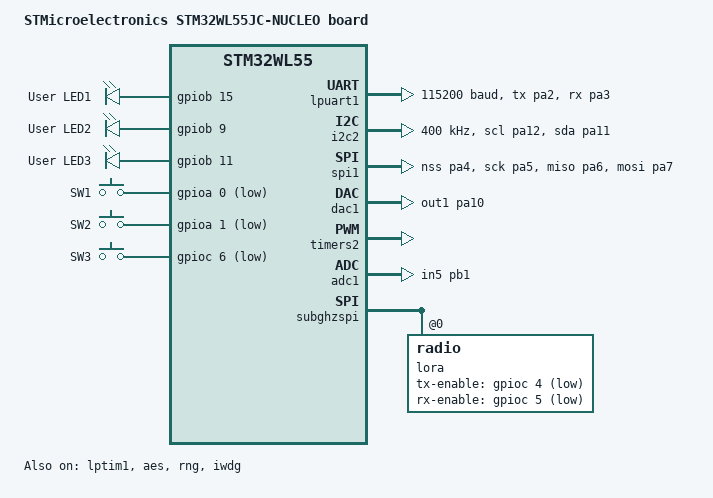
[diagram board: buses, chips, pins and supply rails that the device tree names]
/*
 * Copyright (c) 2020 STMicroelectronics
 *
 * SPDX-License-Identifier: Apache-2.0
 */

/dts-v1/;
#include <st/wl/stm32wl55Xc.dtsi>
#include <st/wl/stm32wl55jcix-pinctrl.dtsi>
#include "arduino_r3_connector.dtsi"

/ {
	model = "STMicroelectronics STM32WL55JC-NUCLEO board";
	compatible = "st,stm32wl55-nucleo";

	chosen {
		zephyr,console = &lpuart1;
		zephyr,shell-uart = &lpuart1;
		zephyr,sram = &sram0;
		zephyr,flash = &flash0;
		zephyr,code-partition = &flash0;
	};

	leds {
		compatible = "gpio-leds";
		blue_led_1: led_0 {
			gpios = <&gpiob 15 GPIO_ACTIVE_HIGH>;
			label = "User LED1";
		};
		green_led_2: led_1 {
			gpios = <&gpiob 9 GPIO_ACTIVE_HIGH>;
			label = "User LED2";
		};
		green_led_3: led_2 {
			gpios = <&gpiob 11 GPIO_ACTIVE_HIGH>;
			label = "User LED3";
		};
	};

	gpio_keys {
		compatible = "gpio-keys";
		user_button_1: button_0 {
			label = "SW1";
			gpios = <&gpioa 0 (GPIO_ACTIVE_LOW | GPIO_PULL_UP)>;
		};
		user_button_2: button_1 {
			label = "SW2";
			gpios = <&gpioa 1 (GPIO_ACTIVE_LOW | GPIO_PULL_UP)>;
		};
		user_button_3: button_2 {
			label = "SW3";
			gpios = <&gpioc 6 (GPIO_ACTIVE_LOW | GPIO_PULL_UP)>;
		};
	};

	aliases {
		led0 = &green_led_2;
		sw0 = &user_button_1;
		sw1 = &user_button_2;
		sw2 = &user_button_3;
		lora0 = &lora;
		watchdog0 = &iwdg;
	};

	power-states {
		stop0: state0 {
			compatible = "zephyr,power-state";
			power-state-name = "suspend-to-idle";
			substate-id = <1>;
			min-residency-us = <100>;
		};
		stop1: state1 {
			compatible = "zephyr,power-state";
			power-state-name = "suspend-to-idle";
			substate-id = <2>;
			min-residency-us = <500>;
		};
		stop2: state2 {
			compatible = "zephyr,power-state";
			power-state-name = "suspend-to-idle";
			substate-id = <3>;
			min-residency-us = <900>;
		};
	};
};

&cpu0 {
	cpu-power-states = <&stop0 &stop1 &stop2>;
};

&lptim1 {
	status = "okay";
};

&clk_hsi {
	status = "okay";
};

&pll {
	div-m = <1>;
	mul-n = <6>;
	div-r = <2>;
	div-q = <2>;
	clocks = <&clk_hsi>;
	status = "okay";
};

&rcc {
	clocks = <&pll>;
	clock-frequency = <DT_FREQ_M(48)>;
	cpu1-prescaler = <1>;
	cpu2-prescaler = <1>;
	ahb3-prescaler = <1>;
	apb1-prescaler = <1>;
	apb2-prescaler = <1>;
};

&lpuart1 {
	pinctrl-0 = <&lpuart1_tx_pa2 &lpuart1_rx_pa3>;
	pinctrl-names = "default";
	current-speed = <115200>;
	status = "okay";
};

&i2c2 {
	pinctrl-0 = <&i2c2_scl_pa12 &i2c2_sda_pa11>;
	pinctrl-names = "default";
	status = "okay";
	clock-frequency = <I2C_BITRATE_FAST>;
};

&spi1 {
	pinctrl-0 = <&spi1_nss_pa4 &spi1_sck_pa5
		     &spi1_miso_pa6 &spi1_mosi_pa7>;
	pinctrl-names = "default";
	status = "okay";
};


&dac1 {
	pinctrl-0 = <&dac_out1_pa10>;
	pinctrl-names = "default";
	status = "okay";
};

&timers2 {
	status = "okay";
	pwm2: pwm {
		status = "okay";
		pinctrl-0 = <&tim2_ch4_pb11>;
		pinctrl-names = "default";
	};
};


&adc1 {
	pinctrl-0 = <&adc_in5_pb1>;
	pinctrl-names = "default";
	status = "okay";
};

&aes {
	status = "okay";
};

&rng {
	status = "okay";
};

&iwdg {
	status = "okay";
};

&subghzspi {
	status = "okay";
	lora: radio@0 {
		status = "okay";
		tx-enable-gpios = <&gpioc 4 GPIO_ACTIVE_LOW>;
		rx-enable-gpios = <&gpioc 5 GPIO_ACTIVE_LOW>;
		dio3-tcxo-voltage = <SX126X_DIO3_TCXO_1V7>;
		tcxo-power-startup-delay-ms = <5>;
	};
};

&flash0 {
	partitions {
		compatible = "fixed-partitions";
		#address-cells = <1>;
		#size-cells = <1>;

		/*
		 * Set 16kB of storage (8x2kB pages) at the end of the 256kB of
		 * flash.
		 */
		storage_partition: partition@3c000 {
			label = "storage";
			reg = <0x0003c000 DT_SIZE_K(16)>;
		};
	};
};
